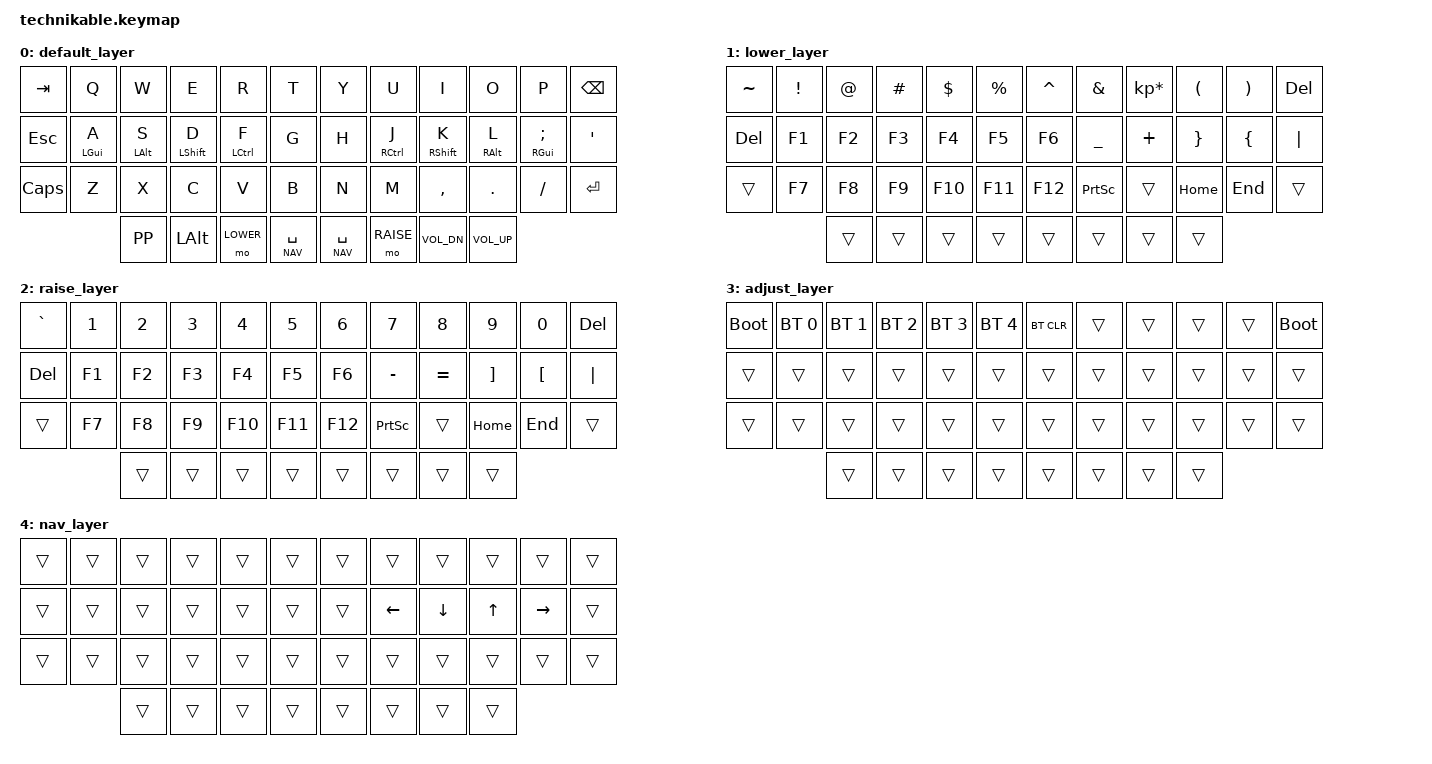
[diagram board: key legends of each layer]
/*
 * Copyright (c) 2022 Pete Johanson
 *
 * SPDX-License-Identifier: MIT
 */

#include <behaviors.dtsi>
#include <dt-bindings/zmk/keys.h>
#include <dt-bindings/zmk/bt.h>
#include <dt-bindings/zmk/outputs.h>

#define DEFAULT 0
#define LOWER 1
#define RAISE 2
#define ADJUST 3
#define NAV 4

/ {
    conditional_layers {
        compatible = "zmk,conditional-layers";
        tri_layer {
            if-layers = <1 2>;
            then-layer = <3>;
        };
    };
};

/ {
    behaviors {
        hm: homerow_mods {
            compatible = "zmk,behavior-hold-tap";
            label = "HOMEROW_MODS";
            #binding-cells = <2>;
            tapping-term-ms = <200>;
            quick-tap-ms = <0>;
            flavor = "tap-preferred";
            bindings = <&kp>, <&kp>;
        };
    };

    keymap {
            compatible = "zmk,keymap";

            default_layer {
                            bindings = <
    &kp TAB    &kp Q      &kp W      &kp E          &kp R          &kp T          &kp Y            &kp U          &kp I        &kp O      &kp P         &kp BKSP
    &kp ESC    &hm LGUI A &hm LALT S &hm LSHFT D    &hm LCTRL F    &kp G          &kp H            &hm RCTRL J    &hm RSHFT K  &hm RALT L &hm RGUI SEMI &kp SQT
    &kp CAPS   &kp Z      &kp X      &kp C          &kp V          &kp B          &kp N            &kp M          &kp COMMA    &kp DOT    &kp FSLH      &kp RET
                          &kp K_PP   &kp LALT       &mo LOWER      &lt NAV SPACE  &lt NAV SPACE    &mo RAISE      &kp K_VOL_DN &kp K_VOL_UP
                            >;
            };

            lower_layer {
                        bindings = <
   &kp TILDE &kp EXCL &kp AT   &kp HASH &kp DLLR &kp PRCNT   &kp CARET &kp AMPS  &kp KP_MULTIPLY &kp LPAR &kp RPAR &kp DEL
   &kp DEL   &kp F1   &kp F2   &kp F3   &kp F4   &kp F5      &kp F6    &kp UNDER &kp PLUS        &kp RBRC &kp LBRC &kp PIPE
   &trans    &kp F7   &kp F8   &kp F9   &kp F10  &kp F11     &kp F12   &kp PSCRN &trans          &kp HOME &kp END  &trans
                      &trans   &trans   &trans   &trans      &trans    &trans    &trans          &trans   
                        >;
            };

            raise_layer {
                        bindings = <
   &kp GRAVE &kp N1   &kp N2   &kp N3   &kp N4   &kp N5      &kp N6    &kp N7    &kp N8    &kp N9    &kp N0   &kp DEL
   &kp DEL   &kp F1   &kp F2   &kp F3   &kp F4   &kp F5      &kp F6    &kp MINUS &kp EQUAL &kp RBKT  &kp LBKT &kp PIPE
   &trans    &kp F7   &kp F8   &kp F9   &kp F10  &kp F11     &kp F12   &kp PSCRN &trans    &kp HOME  &kp END  &trans
                      &trans   &trans   &trans   &trans      &trans    &trans    &trans    &trans   
                        >;
            };

            adjust_layer {
                        bindings = <
   &bootloader  &bt BT_SEL 0 &bt BT_SEL 1 &bt BT_SEL 2 &bt BT_SEL 3 &bt BT_SEL 4   &bt BT_CLR   &trans  &trans  &trans  &trans  &bootloader
   &trans       &trans       &trans       &trans       &trans       &trans         &trans       &trans  &trans  &trans  &trans  &trans
   &trans       &trans       &trans       &trans       &trans       &trans         &trans       &trans  &trans  &trans  &trans  &trans
                             &trans       &trans       &trans       &trans         &trans       &trans  &trans  &trans   
                        >;  
            };

            nav_layer {
                        bindings = <
   &trans    &trans    &trans    &trans   &trans    &trans     &trans   &trans    &trans    &trans  &trans     &trans
   &trans    &trans    &trans    &trans   &trans    &trans     &trans   &kp LEFT  &kp DOWN  &kp UP  &kp RIGHT  &trans
   &trans    &trans    &trans    &trans   &trans    &trans     &trans   &trans    &trans    &trans  &trans     &trans
                       &trans    &trans   &trans     &trans   &trans    &trans    &trans    &trans
                        >;
            };
    };
};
